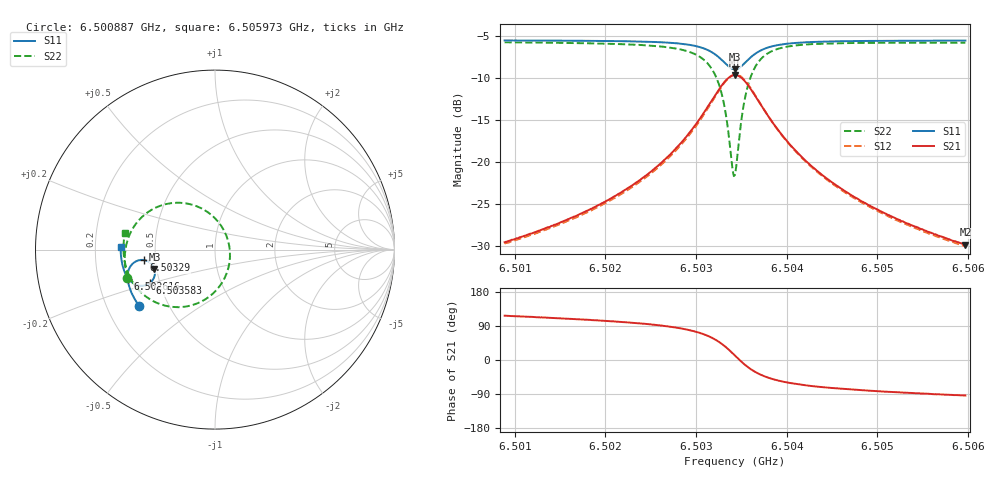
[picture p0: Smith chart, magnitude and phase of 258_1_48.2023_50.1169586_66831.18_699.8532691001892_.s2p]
#  HZ  S  RI  R  50.00
! Rohde & Schwarz Vector Network Analyzer
! Rohde-Schwarz,ZNB20-2Port,1311601062101988,3.16
! Created: UTC 3/20/2024, 11:47:38 AM
! freq[Hz]  re:S11  im:S11  re:S21  im:S21  re:S12  im:S12  re:S22  im:S22
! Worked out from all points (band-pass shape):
!   401 points, 6.500887 GHz to 6.505973 GHz, reference 50 ohm
!   highest |S21| = -9.69 dB at 6.50343 GHz (marker M1); lowest = -29.9 dB at 6.505973 GHz (marker M2)
!   |S21| within 3 dB of the highest: 6.503175 GHz to 6.503684 GHz (508.5 kHz wide, 0.00782 % of centre)
!   lowest |S11| = -9.0 dB at 6.50343 GHz (marker M3), VSWR 2.10, Z = 24.3 - j6 ohm
!   |S11| at or under -10 dB: nowhere
!   |S22| runs from -21.7 to -5.8 dB; largest |S21 - S12| = 0.011
!   S11 on the Smith chart (normalised r, x): 6.500887 GHz: 0.34, -0.29; 6.502616 GHz: 0.33, -0.15; 6.50329 GHz: 0.43, -0.06; 6.503583 GHz: 0.44, -0.20; 6.505973 GHz: 0.31, +0.01
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6.5008871e9  -0.4233 -0.3132  -0.0151 0.0295  -0.0133 0.0297  -0.4881 -0.1598
6.501739e9  -0.4604 -0.2508  -0.0142 0.0472  -0.0119 0.0468  -0.5023 -0.0701
6.5022094e9  -0.4771 -0.2093  -0.0116 0.0665  -0.00854 0.0654  -0.4998 -0.00417
6.5025909e9  -0.4863 -0.1677  -0.00251 0.0957  0.00102 0.0934  -0.4808 0.0711
6.5026163e9  -0.4866 -0.1644  -0.00154 0.0984  0.00217 0.0961  -0.4784 0.0773
6.5028579e9  -0.4853 -0.1287  0.018 0.1326  0.0218 0.1287  -0.4373 0.1482
6.5030359e9  -0.4723 -0.0949  0.0553 0.1695  0.0585 0.1639  -0.364 0.215
6.5031884e9  -0.4389 -0.0646  0.1296 0.1998  0.1308 0.1933  -0.2281 0.2601
6.5032902e9  -0.3958 -0.0581  0.2153 0.1904  0.2155 0.1852  -0.079 0.2315
6.503341e9  -0.3703 -0.0669  0.2636 0.1619  0.2644 0.1575  0.00143 0.1731
6.5034046e9  -0.3438 -0.0936  0.3109 0.0981  0.3136 0.0932  0.0725 0.0502
6.50343e9  -0.3375 -0.1081  0.3209 0.066  0.3242 0.06  0.083 -0.0098
6.5034554e9  -0.3346 -0.1236  0.3243 0.0325  0.3278 0.0254  0.0809 -0.0709
6.503519e9  -0.3419 -0.1607  0.3059 -0.045  0.308 -0.055  0.0247 -0.2052
6.5035826e9  -0.3631 -0.1864  0.2631 -0.0987  0.2619 -0.1098  -0.0719 -0.2871
6.5036843e9  -0.4025 -0.2013  0.1887 -0.1345  0.1834 -0.1437  -0.221 -0.3203
6.5038496e9  -0.4483 -0.1917  0.1077 -0.1312  0.1006 -0.1361  -0.3672 -0.2738
6.5040276e9  -0.4756 -0.1703  0.0635 -0.1111  0.0573 -0.1135  -0.4387 -0.2089
6.5042819e9  -0.4962 -0.1403  0.0337 -0.087  0.029 -0.0875  -0.482 -0.1371
6.5046633e9  -0.5116 -0.1007  0.0148 -0.0642  0.0115 -0.0637  -0.5041 -0.0623
6.5051337e9  -0.5211 -0.0575  0.00499 -0.0477  0.0027 -0.0469  -0.5101 0.00312
6.5059729e9  -0.5258 0.0134  -0.00211 -0.032  -0.00339 -0.0312  -0.5022 0.0915
